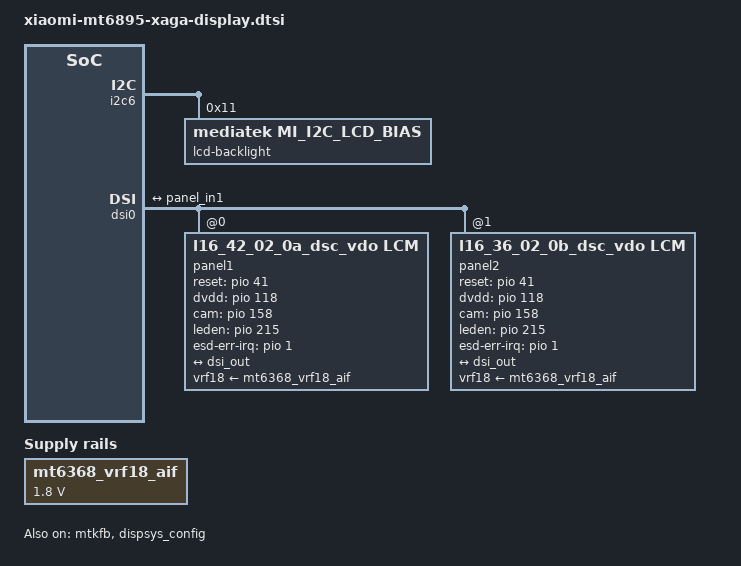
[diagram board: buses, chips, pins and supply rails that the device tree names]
&mtk_leds {
	compatible = "mediatek,disp-leds";

	backlight {
		label = "lcd-backlight";
		led_mode = <4>;
		max-brightness = <4095>;
		max-hw-brightness = <4095>;
		default-state = "half";
	};
};

&i2c6 {
	gate_ic: gate_ic@11 {
		compatible = "mediatek,MI_I2C_LCD_BIAS";
		label = "lcd-backlight";
		pwm_config = <0 1 0 0 0>;
		reg = <0x11>;
		id = <6>;
		status = "okay";
	};
};

&mt6368_vrf18_aif {
	regulator-min-microvolt = <1800000>;
	regulator-max-microvolt = <1800000>;
};

&pio {
	mtkfb_pins_lcm_rst_out1_gpio: lcm_rst_out1_gpio {
		pins_cmd_dat {
			pinmux = <PINMUX_GPIO41__FUNC_GPIO41>;
			slew-rate = <1>;
			output-high;
		};
	};

	mtkfb_pins_lcm_rst_out0_gpio: lcm_rst_out0_gpio {
		pins_cmd_dat {
			pinmux = <PINMUX_GPIO41__FUNC_GPIO41>;
			slew-rate = <1>;
			output-low;
		};
	};
	mtkfb_pins_lcm_dsi_te: lcm_dsi_te {
		pins_cmd_dat {
			pinmux = <PINMUX_GPIO40__FUNC_DSI_TE>;
		};
	};

	mtkfb_pins_lcm_dvdd_en1: lcm_dvdd_en1_gpio {
		pins_cmd_dat {
			pinmux = <PINMUX_GPIO3__FUNC_GPIO3>;
			slew-rate = <1>;
			output-high;
		};
	};

	mtkfb_pins_lcm_dvdd_en0: lcm_dvdd_en0_gpio {
		pins_cmd_dat {
			pinmux = <PINMUX_GPIO3__FUNC_GPIO3>;
			slew-rate = <1>;
			output-low;
		};
	};

	mtkfb_pins_lcm_cam_en1: lcm_cam_en1_gpio {
		pins_cmd_dat {
			pinmux = <PINMUX_GPIO158__FUNC_GPIO158>;
			slew-rate = <1>;
			output-high;
		};
	};

	mtkfb_pins_lcm_cam_en0: lcm_cam_en0_gpio {
		pins_cmd_dat {
			pinmux = <PINMUX_GPIO158__FUNC_GPIO158>;
			slew-rate = <1>;
			output-low;
		};
	};
};

&mtkfb {
	pinctrl-names = "lcm_rst_out1_gpio", "lcm_rst_out0_gpio",
		"mode_te_te", "lcm_dvdd_en1_gpio",
		"lcm_dvdd_en0_gpio","lcm_cam_en1_gpio",
		"lcm_cam_en0_gpio";
	pinctrl-0 = <&mtkfb_pins_lcm_rst_out1_gpio>;
	pinctrl-1 = <&mtkfb_pins_lcm_rst_out0_gpio>;
	pinctrl-2 = <&mtkfb_pins_lcm_dsi_te>;
	pinctrl-3 = <&mtkfb_pins_lcm_dvdd_en1>;
	pinctrl-4 = <&mtkfb_pins_lcm_dvdd_en0>;
	pinctrl-5 = <&mtkfb_pins_lcm_cam_en1>;
	pinctrl-6 = <&mtkfb_pins_lcm_cam_en0>;
	status = "okay";
};
&dispsys_config {
	pinctrl-names =
		"lcm_rst_out1_gpio", "lcm_rst_out0_gpio",
		"mode_te_te", "lcm_dvdd_en1_gpio",
		"lcm_dvdd_en0_gpio";
	pinctrl-0 = <&mtkfb_pins_lcm_rst_out1_gpio>;
	pinctrl-1 = <&mtkfb_pins_lcm_rst_out0_gpio>;
	pinctrl-2 = <&mtkfb_pins_lcm_dsi_te>;
	pinctrl-3 = <&mtkfb_pins_lcm_dvdd_en1>;
	pinctrl-4 = <&mtkfb_pins_lcm_dvdd_en0>;
	pinctrl-5 = <&mtkfb_pins_lcm_cam_en1>;
	pinctrl-6 = <&mtkfb_pins_lcm_cam_en0>;
	status = "okay";
};

&dsi0 {
	status = "okay";
	#address-cells = <1>;
	#size-cells = <0>;
	/* xaga (2026-08-15): restore the stock 5.10 official panel layout.
	 * panel1@0 = l16_42 (reg 0), panel2@0 = l16_36 (reg 1), dsi_out ->
	 * panel_in1, exactly like xaga 5.10 (lineage_xaga/xagaforge). LK's
	 * disp_lcm_fill_lcm_dts_phandle (expdb: "get panel node:
	 * /soc/dsi/panel2/port/endpoint") hard-codes its write-back target to
	 * panel2 - so panel2 MUST be the real panel (l16_36) for the LK
	 * rewrite to end up pointing dsi_out at l16_36. The earlier 6.12
	 * experiments that swapped panel1/panel2 (l16_36 first) or deleted
	 * panel2@0 both broke this: swap made a successful LK write target
	 * l16_42 (wrong panel), deletion made the write fail entirely, and
	 * either path left the kernel with the wrong/no dsi->panel on some
	 * boots -> intermittent black screen (CMDQ wait FRAME_DONE timeout). */
	panel1@0 {
		compatible = "l16_42_02_0a_dsc_vdo,lcm";
		reg = <0>;
		reset-gpios = <&pio 41 0>;
		dvdd-gpios = <&pio 118 0>;
		cam-gpios = <&pio 158 0>;
		leden-gpios = <&pio 215 0>;
		vrf18-supply = <&mt6368_vrf18_aif>;
		mi,esd-err-irq-gpio = <&pio 1 0x2002>;
		pinctrl-names = "default";
		port {
			panel_in1: endpoint {
				remote-endpoint = <&dsi_out>;
			};
		};
	};
	panel2@0 {
		compatible = "l16_36_02_0b_dsc_vdo,lcm";
		reg = <1>;
		reset-gpios = <&pio 41 0>;
		dvdd-gpios = <&pio 118 0>;
		cam-gpios = <&pio 158 0>;
		leden-gpios = <&pio 215 0>;
		vrf18-supply = <&mt6368_vrf18_aif>;
		mi,esd-err-irq-gpio = <&pio 1 0x2002>;
		pinctrl-names = "default";
		port {
			panel_in2: endpoint {
				remote-endpoint = <&dsi_out>;
			};
		};
	};
	ports {
		port {
			dsi_out: endpoint {
				remote-endpoint = <&panel_in1>;
			};
		};
	};
};

&disp_aal0 {
	mtk_dre30_support = <1>;
};

&disp_aal1 {
	mtk_dre30_support = <1>;
};
